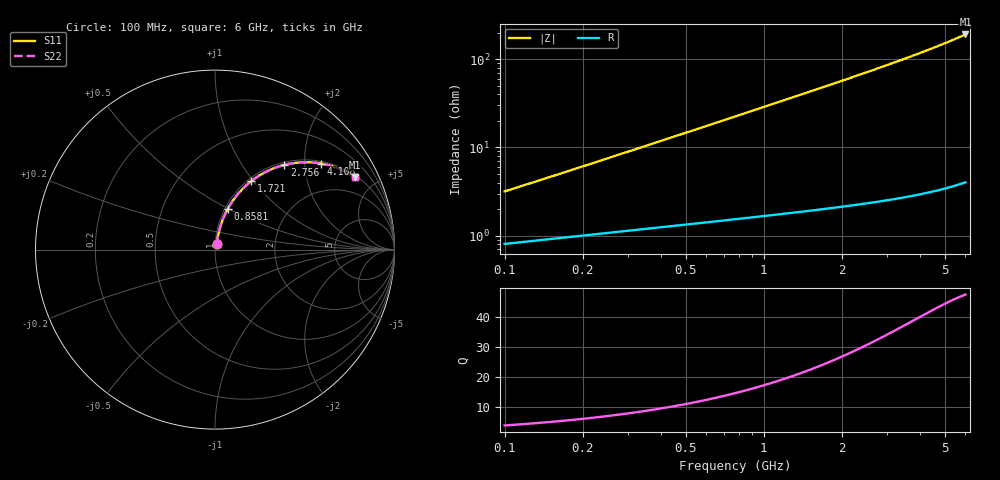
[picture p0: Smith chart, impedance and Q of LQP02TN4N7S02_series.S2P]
!Murata Part Number: LQP02TN4N7S02
!These Parameters are Measured in Series Mode Connection
!  o--[+]--o
!Port1  Port2
!  o-------o
!Freq. Start=100[MHz] Stop=6[GHz], 401[Steps]
# Hz S RI R 50
!Freq.(Hz)	S 11(Real)	S 11(Imag)	S 21(Real)	S 21(Imag)	S 12(Real)	S 12(Imag)	S 22(Real)	S 22(Imag)
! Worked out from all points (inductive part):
!   401 points, 100 MHz to 6 GHz, reference 50 ohm
!   read as one part in series: L = 4.84 nH near 102.1 MHz
!   highest Q = 47.4 at 6 GHz (marker M1), where L = 5.06 nH
!   S11 on the Smith chart (normalised r, x): 100 MHz: 1.02, +0.06; 858.1 MHz: 1.03, +0.49; 1.721 GHz: 1.04, +0.98; 2.756 GHz: 1.05, +1.57; 4.108 GHz: 1.06, +2.41; 6 GHz: 1.08, +3.81
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1e8  0.0089 0.0302  0.9911 -0.0302  0.9911 -0.0302  0.0089 0.0302
1.239804e8  0.00992 0.0371  0.9901 -0.0371  0.9901 -0.0371  0.00992 0.0371
1.47545e8  0.0109 0.0438  0.9891 -0.0438  0.9891 -0.0438  0.0109 0.0438
1.738003e8  0.0121 0.0513  0.9879 -0.0513  0.9879 -0.0513  0.0121 0.0513
2.026428e8  0.0135 0.0594  0.9865 -0.0594  0.9865 -0.0594  0.0135 0.0594
2.726761e8  0.0172 0.0788  0.9828 -0.0788  0.9828 -0.0788  0.0172 0.0788
3.558172e8  0.0223 0.1013  0.9777 -0.1013  0.9777 -0.1013  0.0223 0.1013
4.549e8  0.0295 0.1275  0.9705 -0.1275  0.9705 -0.1275  0.0295 0.1275
5.697893e8  0.0393 0.1569  0.9607 -0.1569  0.9607 -0.1569  0.0393 0.1569
7.064269e8  0.053 0.1904  0.947 -0.1904  0.947 -0.1904  0.053 0.1904
8.580832e8  0.0704 0.2257  0.9296 -0.2257  0.9296 -0.2257  0.0704 0.2257
1.085858e9  0.1006 0.2744  0.8994 -0.2744  0.8994 -0.2744  0.1006 0.2744
1.374095e9  0.1443 0.3285  0.8557 -0.3285  0.8557 -0.3285  0.1443 0.3285
1.721136e9  0.2026 0.3819  0.7974 -0.3819  0.7974 -0.3819  0.2026 0.3819
2.06934e9  0.2643 0.4231  0.7357 -0.4231  0.7357 -0.4231  0.2643 0.4231
2.756148e9  0.3859 0.4717  0.6141 -0.4717  0.6141 -0.4717  0.3859 0.4717
3.053207e9  0.4359 0.4816  0.5641 -0.4816  0.5641 -0.4816  0.4359 0.4816
3.52364e9  0.5096 0.4867  0.4904 -0.4867  0.4904 -0.4867  0.5096 0.4867
4.066557e9  0.5855 0.4804  0.4145 -0.4804  0.4145 -0.4804  0.5855 0.4804
4.108396e9  0.5909 0.4795  0.4091 -0.4795  0.4091 -0.4795  0.5909 0.4795
5.041733e9  0.697 0.4485  0.303 -0.4485  0.303 -0.4485  0.697 0.4485
6e9  0.7794 0.4042  0.2206 -0.4042  0.2206 -0.4042  0.7794 0.4042
